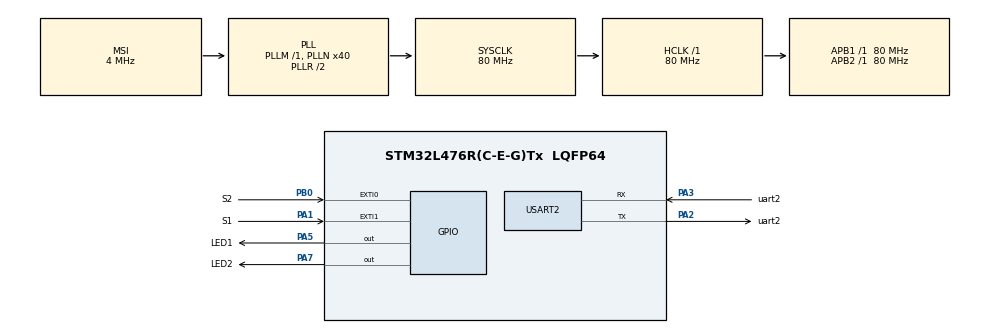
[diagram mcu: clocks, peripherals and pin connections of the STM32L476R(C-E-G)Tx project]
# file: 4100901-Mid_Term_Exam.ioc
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Dma.Request0=USART2_RX
Dma.Request1=USART2_TX
Dma.USART2_RX.0.Direction=DMA_PERIPH_TO_MEMORY
Dma.USART2_RX.0.Instance=DMA1_Channel6
Dma.USART2_RX.0.MemDataAlignment=DMA_MDATAALIGN_BYTE
Dma.USART2_RX.0.MemInc=DMA_MINC_ENABLE
Dma.USART2_RX.0.Mode=DMA_NORMAL
Dma.USART2_RX.0.PeriphDataAlignment=DMA_PDATAALIGN_BYTE
Dma.USART2_RX.0.PeriphInc=DMA_PINC_DISABLE
Dma.USART2_RX.0.Priority=DMA_PRIORITY_LOW
Dma.USART2_TX.1.Direction=DMA_MEMORY_TO_PERIPH
Dma.USART2_TX.1.Instance=DMA1_Channel7
Dma.USART2_TX.1.MemDataAlignment=DMA_MDATAALIGN_BYTE
Dma.USART2_TX.1.MemInc=DMA_MINC_ENABLE
Dma.USART2_TX.1.Mode=DMA_NORMAL
Dma.USART2_TX.1.PeriphDataAlignment=DMA_PDATAALIGN_BYTE
Dma.USART2_TX.1.PeriphInc=DMA_PINC_DISABLE
Dma.USART2_TX.1.Priority=DMA_PRIORITY_LOW
Mcu.Family=STM32L4
Mcu.Name=STM32L476R(C-E-G)Tx
Mcu.Package=LQFP64
NVIC.DMA1_Channel6_IRQn=true\:0\:0\:false\:false\:true\:false\:true\:true
NVIC.DMA1_Channel7_IRQn=true\:0\:0\:false\:false\:true\:false\:true\:true
NVIC.EXTI0_IRQn=true\:0\:0\:false\:false\:true\:true\:true\:true
NVIC.EXTI1_IRQn=true\:0\:0\:false\:false\:true\:true\:true\:true
NVIC.PriorityGroup=NVIC_PRIORITYGROUP_4
NVIC.USART2_IRQn=true\:0\:0\:false\:false\:true\:true\:true\:true
PA1.GPIO_Label=S1
PA1.GPIO_ModeDefaultEXTI=GPIO_MODE_IT_FALLING
PA1.Signal=GPXTI1
PA2.GPIO_Label=uart2
PA2.Mode=Asynchronous
PA2.Signal=USART2_TX
PA3.GPIO_Label=uart2
PA3.Mode=Asynchronous
PA3.Signal=USART2_RX
PA5.GPIO_Label=LED1
PA5.GPIO_ModeDefaultOutputPP=GPIO_MODE_OUTPUT_PP
PA5.GPIO_PuPd=GPIO_NOPULL
PA5.PinState=GPIO_PIN_SET
PA5.Signal=GPIO_Output
PA7.GPIO_Label=LED2
PA7.GPIO_ModeDefaultOutputPP=GPIO_MODE_OUTPUT_PP
PA7.GPIO_PuPd=GPIO_NOPULL
PA7.PinState=GPIO_PIN_SET
PA7.Signal=GPIO_Output
PB0.GPIO_Label=S2
PB0.GPIO_ModeDefaultEXTI=GPIO_MODE_IT_FALLING
PB0.Signal=GPXTI0
ProjectManager.HeapSize=0x200
ProjectManager.StackSize=0x400
ProjectManager.TargetToolchain=STM32CubeIDE
RCC.AHBFreq_Value=80000000
RCC.APB1Freq_Value=80000000
RCC.APB1TimFreq_Value=80000000
RCC.APB2Freq_Value=80000000
RCC.APB2TimFreq_Value=80000000
RCC.CortexFreq_Value=80000000
RCC.HCLKFreq_Value=80000000
RCC.HSE_VALUE=8000000
RCC.HSI_VALUE=16000000
RCC.LSE_VALUE=32768
RCC.MSI_VALUE=4000000
RCC.PLLN=40
RCC.SYSCLKFreq_VALUE=80000000
RCC.SYSCLKSource=RCC_SYSCLKSOURCE_PLLCLK
RCC.VCOOutputFreq_Value=160000000
USART2.VirtualMode-Asynchronous=VM_ASYNC
board=custom

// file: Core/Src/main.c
/* USER CODE BEGIN Header */
/**
  ******************************************************************************
  * @file           : main.c
  * @brief          : Main program body
  ******************************************************************************
  * @attention
  *
  * Copyright (c) 2024 STMicroelectronics.
  * All rights reserved.
  *
  * This software is licensed under terms that can be found in the LICENSE file
  * in the root directory of this software component.
  * If no LICENSE file comes with this software, it is provided AS-IS.
  *
  ******************************************************************************
  */
/* USER CODE END Header */
#include "main.h"

/* USER CODE BEGIN PD */
#define FREQUENCY 500 // Frecuencia de parpadeo de los leds
//Declaro las banderas para las interrupciones
volatile int8_t left_flag = 0;
volatile int8_t right_flag = 0;
volatile int8_t count_press_1 = 0; // contador para ver cuantas veces se presiona un boton
volatile int8_t count_press_2 = 0;
volatile uint32_t start_time_1 = 0;
volatile uint32_t start_time_2 = 0;
volatile uint32_t start_time_3 = 0;
/* USER CODE END PD */

/* USER CODE BEGIN PM */
void blink(GPIO_TypeDef* GPIOx, uint16_t GPIO_Pin, uint32_t interval_ms, uint8_t max_blinks) {
    static uint32_t last_tick = 0;
    static uint8_t blink_count = 0;

    if (blink_count < max_blinks * 2 && HAL_GetTick() - last_tick >= interval_ms) {
        last_tick = HAL_GetTick();
        HAL_GPIO_TogglePin(GPIOx, GPIO_Pin);
        blink_count++;
    }
}

void blink_2(GPIO_TypeDef* GPIOx, uint16_t GPIO_Pin, uint16_t Hz) {
    static uint32_t heartbeat_tick = 0;
    if (HAL_GetTick() >= heartbeat_tick) {
        heartbeat_tick = HAL_GetTick() + Hz;  // 50 ms para un parpadeo a 20 Hz
        HAL_GPIO_TogglePin(GPIOx, GPIO_Pin);
    }
}
/* USER CODE END PM */

UART_HandleTypeDef huart2;
DMA_HandleTypeDef hdma_usart2_rx;
DMA_HandleTypeDef hdma_usart2_tx;

void SystemClock_Config(void);
static void MX_GPIO_Init(void);
static void MX_DMA_Init(void);
static void MX_USART2_UART_Init(void);
/* USER CODE BEGIN PFP */

void HAL_GPIO_EXTI_Callback(uint16_t GPIO_Pin)
{
  //UNUSED(GPIO_Pin);
  if (GPIO_Pin==S1_Pin){// LEFT
	  HAL_UART_Transmit(&huart2, (uint8_t*)"LEFT\r\n", 6, 10);
	  count_press_1++;
	  start_time_1 = HAL_GetTick()+start_time_1;  // Almacenar el tiempo en que se activó la interrupción
	  if(count_press_1>0 && (HAL_GetTick()-start_time_1)<500){
		  left_flag = 1;
		  HAL_UART_Transmit(&huart2, (uint8_t*)"OK\r\n", 4, 10);
		  count_press_1=0;
	  }else{
		  left_flag = 2;
		  count_press_1=0;
	  }

  } else if (GPIO_Pin==S2_Pin){//HAZARD
	  HAL_UART_Transmit(&huart2, (uint8_t*)"RIGHT\r\n", 7, 10);
	  count_press_2++;
	  start_time_2 = HAL_GetTick();  // Almacenar el tiempo en que se activó la interrupción
	  right_flag = 1;
  }

}

/* USER CODE END PFP */

int main(void)
{

  /* MCU Configuration--------------------------------------------------------*/

  /* Reset of all peripherals, Initializes the Flash interface and the Systick. */
  HAL_Init();

  /* Configure the system clock */
  SystemClock_Config();

  /* Initialize all configured peripherals */
  MX_GPIO_Init();
  MX_DMA_Init();
  MX_USART2_UART_Init();
  /* USER CODE BEGIN 2 */
  HAL_UART_Transmit(&huart2, (uint8_t*)"INICIO\r\n", 8, 10); // Mensaje de inicio del sistema
  /* USER CODE END 2 */

  /* Infinite loop */
  while (1)
  {

    /* USER CODE BEGIN 3 */
	  if (left_flag == 1) {
		  right_flag = 0;//Verifica que el otro led se apague
		  if (HAL_GetTick() - start_time_1 < 3000) {  // Verificar si han pasado menos de 3 segundos
			  blink(LED1_GPIO_Port, LED1_Pin, 500,6);
		  } else {
			  left_flag = 0;  // Resetear el flag después de 3 segundos
		  }
		  HAL_Delay(1);
	  }

	  if (left_flag == 2) {

		  right_flag = 0;//Verifica que el otro led se apague

		  blink(LED1_GPIO_Port, LED1_Pin, 500,6);
		  left_flag = 0;  // Resetear el flag después de 3 segundos
		  HAL_UART_Transmit(&huart2, (uint8_t*)"flag2\r\n", 7, 10);
		  }
		  HAL_Delay(1);

	  if (right_flag == 1) {
		  left_flag = 0;//Verifica que el otro led se apague
		  if (HAL_GetTick() - start_time_2 < 3000) {  // Verificar si han pasado menos de 3 segundos
			  blink(LED2_GPIO_Port, LED2_Pin, 500,6);
		  } else {
			  right_flag = 0;  // Resetear el flag después de 3 segundos
		  }
		  HAL_Delay(1);
	  }
  }
  /* USER CODE END 3 */
}

void SystemClock_Config(void)
{
  RCC_OscInitTypeDef RCC_OscInitStruct = {0};
  RCC_ClkInitTypeDef RCC_ClkInitStruct = {0};

  /** Configure the main internal regulator output voltage
  */
  if (HAL_PWREx_ControlVoltageScaling(PWR_REGULATOR_VOLTAGE_SCALE1) != HAL_OK)
  {
    Error_Handler();
  }

  /** Initializes the RCC Oscillators according to the specified parameters
  * in the RCC_OscInitTypeDef structure.
  */
  RCC_OscInitStruct.OscillatorType = RCC_OSCILLATORTYPE_MSI;
  RCC_OscInitStruct.MSIState = RCC_MSI_ON;
  RCC_OscInitStruct.MSICalibrationValue = 0;
  RCC_OscInitStruct.MSIClockRange = RCC_MSIRANGE_6;
  RCC_OscInitStruct.PLL.PLLState = RCC_PLL_ON;
  RCC_OscInitStruct.PLL.PLLSource = RCC_PLLSOURCE_MSI;
  RCC_OscInitStruct.PLL.PLLM = 1;
  RCC_OscInitStruct.PLL.PLLN = 40;
  RCC_OscInitStruct.PLL.PLLP = RCC_PLLP_DIV7;
  RCC_OscInitStruct.PLL.PLLQ = RCC_PLLQ_DIV2;
  RCC_OscInitStruct.PLL.PLLR = RCC_PLLR_DIV2;
  if (HAL_RCC_OscConfig(&RCC_OscInitStruct) != HAL_OK)
  {
    Error_Handler();
  }

  /** Initializes the CPU, AHB and APB buses clocks
  */
  RCC_ClkInitStruct.ClockType = RCC_CLOCKTYPE_HCLK|RCC_CLOCKTYPE_SYSCLK
                              |RCC_CLOCKTYPE_PCLK1|RCC_CLOCKTYPE_PCLK2;
  RCC_ClkInitStruct.SYSCLKSource = RCC_SYSCLKSOURCE_PLLCLK;
  RCC_ClkInitStruct.AHBCLKDivider = RCC_SYSCLK_DIV1;
  RCC_ClkInitStruct.APB1CLKDivider = RCC_HCLK_DIV1;
  RCC_ClkInitStruct.APB2CLKDivider = RCC_HCLK_DIV1;

  if (HAL_RCC_ClockConfig(&RCC_ClkInitStruct, FLASH_LATENCY_4) != HAL_OK)
  {
    Error_Handler();
  }
}

static void MX_USART2_UART_Init(void)
{

  huart2.Instance = USART2;
  huart2.Init.BaudRate = 115200;
  huart2.Init.WordLength = UART_WORDLENGTH_8B;
  huart2.Init.StopBits = UART_STOPBITS_1;
  huart2.Init.Parity = UART_PARITY_NONE;
  huart2.Init.Mode = UART_MODE_TX_RX;
  huart2.Init.HwFlowCtl = UART_HWCONTROL_NONE;
  huart2.Init.OverSampling = UART_OVERSAMPLING_16;
  huart2.Init.OneBitSampling = UART_ONE_BIT_SAMPLE_DISABLE;
  huart2.AdvancedInit.AdvFeatureInit = UART_ADVFEATURE_NO_INIT;
  if (HAL_UART_Init(&huart2) != HAL_OK)
  {
    Error_Handler();
  }

}

static void MX_DMA_Init(void)
{

  /* DMA controller clock enable */
  __HAL_RCC_DMA1_CLK_ENABLE();

  /* DMA interrupt init */
  /* DMA1_Channel6_IRQn interrupt configuration */
  HAL_NVIC_SetPriority(DMA1_Channel6_IRQn, 0, 0);
  HAL_NVIC_EnableIRQ(DMA1_Channel6_IRQn);
  /* DMA1_Channel7_IRQn interrupt configuration */
  HAL_NVIC_SetPriority(DMA1_Channel7_IRQn, 0, 0);
  HAL_NVIC_EnableIRQ(DMA1_Channel7_IRQn);

}

static void MX_GPIO_Init(void)
{
  GPIO_InitTypeDef GPIO_InitStruct = {0};

  /* GPIO Ports Clock Enable */
  __HAL_RCC_GPIOA_CLK_ENABLE();
  __HAL_RCC_GPIOB_CLK_ENABLE();

  /*Configure GPIO pin Output Level */
  HAL_GPIO_WritePin(GPIOA, LED1_Pin|LED2_Pin, GPIO_PIN_SET);

  /*Configure GPIO pin : S1_Pin */
  GPIO_InitStruct.Pin = S1_Pin;
  GPIO_InitStruct.Mode = GPIO_MODE_IT_FALLING;
  GPIO_InitStruct.Pull = GPIO_NOPULL;
  HAL_GPIO_Init(S1_GPIO_Port, &GPIO_InitStruct);

  /*Configure GPIO pins : LED1_Pin LED2_Pin */
  GPIO_InitStruct.Pin = LED1_Pin|LED2_Pin;
  GPIO_InitStruct.Mode = GPIO_MODE_OUTPUT_PP;
  GPIO_InitStruct.Pull = GPIO_NOPULL;
  GPIO_InitStruct.Speed = GPIO_SPEED_FREQ_LOW;
  HAL_GPIO_Init(GPIOA, &GPIO_InitStruct);

  /*Configure GPIO pin : S2_Pin */
  GPIO_InitStruct.Pin = S2_Pin;
  GPIO_InitStruct.Mode = GPIO_MODE_IT_FALLING;
  GPIO_InitStruct.Pull = GPIO_NOPULL;
  HAL_GPIO_Init(S2_GPIO_Port, &GPIO_InitStruct);

  /* EXTI interrupt init*/
  HAL_NVIC_SetPriority(EXTI0_IRQn, 0, 0);
  HAL_NVIC_EnableIRQ(EXTI0_IRQn);

  HAL_NVIC_SetPriority(EXTI1_IRQn, 0, 0);
  HAL_NVIC_EnableIRQ(EXTI1_IRQn);

}

void Error_Handler(void)
{
  __disable_irq();
  while (1)
  {
  }
}
